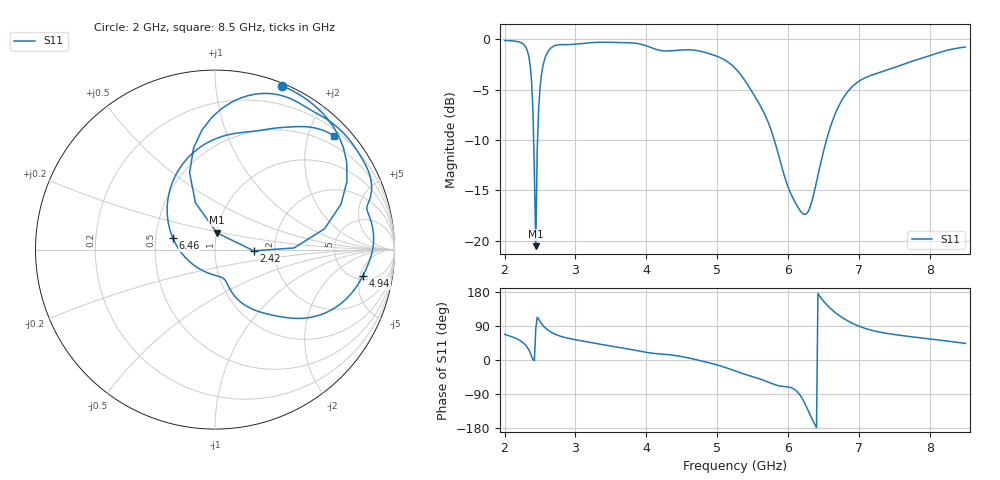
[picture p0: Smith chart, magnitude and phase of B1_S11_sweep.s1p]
! Generated by Hertzon (EMerge FEM)
# HZ S RI R 50
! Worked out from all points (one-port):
!   326 points, 2 GHz to 8.5 GHz, reference 50 ohm
!   lowest |S11| = -20.5 dB at 2.44 GHz (marker M1), VSWR 1.21, Z = 50.1 + j9.46 ohm
!   |S11| at or under -10 dB: 2.409 GHz to 2.465 GHz (55.55 MHz wide, 2.28 % of centre); 5.805 GHz to 6.54 GHz (735.2 MHz wide, 11.9 % of centre)
!   S11 on the Smith chart (normalised r, x): 2 GHz: 0.02, +1.49; 2.42 GHz: 1.55, -0.02; 4.94 GHz: 5.75, -5.59; 6.46 GHz: 0.61, +0.08; 8.5 GHz: 0.31, +2.45
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2e9  0.3751 0.913
2.22e9  0.6074 0.7515
2.28e9  0.6904 0.6301
2.34e9  0.7353 0.3811
2.38e9  0.6105 0.1161
2.4e9  0.4403 0.00913
2.42e9  0.2147 -0.00647
2.44e9  0.01 0.0935
2.46e9  -0.1091 0.2608
2.48e9  -0.1414 0.4289
2.52e9  -0.0733 0.6649
2.56e9  0.0369 0.7856
2.62e9  0.1846 0.8578
2.82e9  0.4586 0.8221
3.64e9  0.8136 0.5162
4.08e9  0.8619 0.2801
4.44e9  0.867 0.1663
4.94e9  0.8243 -0.1456
5.26e9  0.6229 -0.3491
5.7e9  0.2196 -0.3364
6.08e9  0.0373 -0.1552
6.28e9  -0.0942 -0.1026
6.46e9  -0.2352 0.0647
6.64e9  -0.2554 0.3166
6.88e9  -0.0923 0.5637
7.22e9  0.1577 0.6534
7.7e9  0.3585 0.6791
8.5e9  0.6607 0.6345
